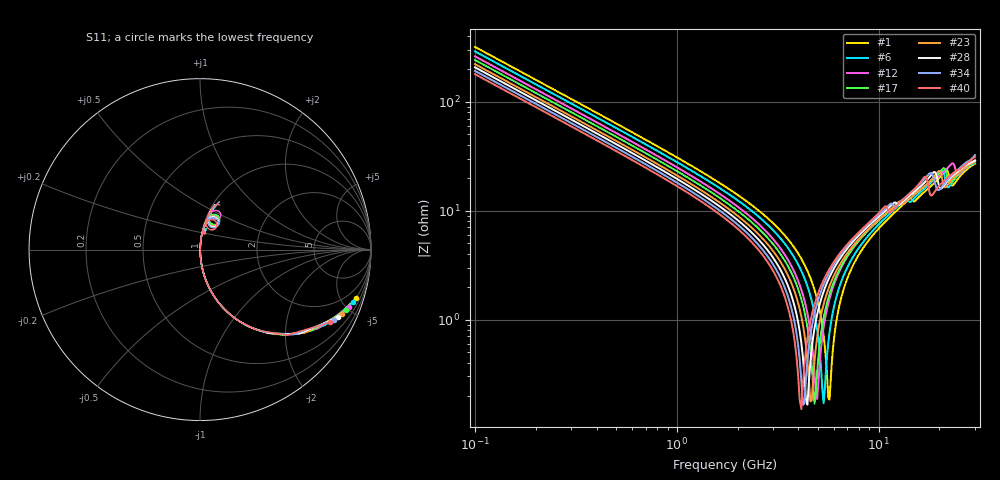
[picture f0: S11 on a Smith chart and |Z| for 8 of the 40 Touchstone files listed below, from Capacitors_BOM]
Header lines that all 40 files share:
!These Parameters are Measured in Series Mode Connection
!  o--ll--o
!Port1  Port2
!  o------o
!Operation Temp=25[degC], DC Bias Voltage=0[V]
!Freq. Start=100[MHz] Stop=30[GHz], 401[Steps]
!Data Generated on Feb 1, 2023
# Hz S RI R 50
!Freq.(Hz) S11(Real) S11(Imag) S21(Real) S21(Imag) S12(Real) S12(Imag) S22(Real) S22(Imag)
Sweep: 100 MHz to 30 GHz
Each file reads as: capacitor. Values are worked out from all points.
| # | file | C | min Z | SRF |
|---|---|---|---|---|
| 1 | GJM0225C1E5R0BB01_DC0V_25degC_series.s2p | 5 pF | 184 mohm | 5.674 GHz |
| 2 | GJM0225C1E5R1BB01_DC0V_25degC_series.s2p | 5.1 pF | 174 mohm | 5.618 GHz |
| 3 | GJM0225C1E5R2BB01_DC0V_25degC_series.s2p | 5.2 pF | 172 mohm | 5.564 GHz |
| 4 | GJM0225C1E5R3BB01_DC0V_25degC_series.s2p | 5.3 pF | 178 mohm | 5.432 GHz |
| 5 | GJM0225C1E5R4BB01_DC0V_25degC_series.s2p | 5.4 pF | 179 mohm | 5.382 GHz |
| 6 | GJM0225C1E5R5BB01_DC0V_25degC_series.s2p | 5.5 pF | 170 mohm | 5.333 GHz |
| 7 | GJM0225C1E5R6BB01_DC0V_25degC_series.s2p | 5.6 pF | 173 mohm | 5.321 GHz |
| 8 | GJM0225C1E5R7BB01_DC0V_25degC_series.s2p | 5.7 pF | 174 mohm | 5.275 GHz |
| 9 | GJM0225C1E5R8BB01_DC0V_25degC_series.s2p | 5.8 pF | 180 mohm | 5.229 GHz |
| 10 | GJM0225C1E5R9BB01_DC0V_25degC_series.s2p | 5.9 pF | 183 mohm | 5.016 GHz |
| 11 | GJM0225C1E6R0BB01_DC0V_25degC_series.s2p | 6 pF | 182 mohm | 4.974 GHz |
| 12 | GJM0225C1E6R1BB01_DC0V_25degC_series.s2p | 6.1 pF | 187 mohm | 4.934 GHz |
| 13 | GJM0225C1E6R2BB01_DC0V_25degC_series.s2p | 6.2 pF | 176 mohm | 4.889 GHz |
| 14 | GJM0225C1E6R3BB01_DC0V_25degC_series.s2p | 6.3 pF | 190 mohm | 4.85 GHz |
| 15 | GJM0225C1E6R4BB01_DC0V_25degC_series.s2p | 6.4 pF | 175 mohm | 4.812 GHz |
| 16 | GJM0225C1E6R5BB01_DC0V_25degC_series.s2p | 6.5 pF | 180 mohm | 4.853 GHz |
| 17 | GJM0225C1E6R6BB01_DC0V_25degC_series.s2p | 6.6 pF | 169 mohm | 4.816 GHz |
| 18 | GJM0225C1E6R7BB01_DC0V_25degC_series.s2p | 6.7 pF | 179 mohm | 4.78 GHz |
| 19 | GJM0225C1E6R8BB01_DC0V_25degC_series.s2p | 6.8 pF | 174 mohm | 4.71 GHz |
| 20 | GJM0225C1E6R9BB01_DC0V_25degC_series.s2p | 6.9 pF | 169 mohm | 4.675 GHz |
| 21 | GJM0225C1E7R0BB01_DC0V_25degC_series.s2p | 7 pF | 163 mohm | 4.669 GHz |
| 22 | GJM0225C1E7R1BB01_DC0V_25degC_series.s2p | 7.1 pF | 162 mohm | 4.654 GHz |
| 23 | GJM0225C1E7R2BB01_DC0V_25degC_series.s2p | 7.2 pF | 177 mohm | 4.622 GHz |
| 24 | GJM0225C1E7R3BB01_DC0V_25degC_series.s2p | 7.3 pF | 161 mohm | 4.59 GHz |
| 25 | GJM0225C1E7R4BB01_DC0V_25degC_series.s2p | 7.4 pF | 169 mohm | 4.486 GHz |
| 26 | GJM0225C1E7R5BB01_DC0V_25degC_series.s2p | 7.5 pF | 166 mohm | 4.456 GHz |
| 27 | GJM0225C1E7R6BB01_DC0V_25degC_series.s2p | 7.6 pF | 161 mohm | 4.426 GHz |
| 28 | GJM0225C1E7R7BB01_DC0V_25degC_series.s2p | 7.7 pF | 166 mohm | 4.408 GHz |
| 29 | GJM0225C1E7R8BB01_DC0V_25degC_series.s2p | 7.8 pF | 158 mohm | 4.379 GHz |
| 30 | GJM0225C1E7R9BB01_DC0V_25degC_series.s2p | 7.9 pF | 155 mohm | 4.351 GHz |
| 31 | GJM0225C1E8R0BB01_DC0V_25degC_series.s2p | 8 pF | 153 mohm | 4.292 GHz |
| 32 | GJM0225C1E8R1BB01_DC0V_25degC_series.s2p | 8.1 pF | 159 mohm | 4.265 GHz |
| 33 | GJM0225C1E8R2BB01_DC0V_25degC_series.s2p | 8.2 pF | 163 mohm | 4.239 GHz |
| 34 | GJM0225C1E8R3BB01_DC0V_25degC_series.s2p | 8.3 pF | 164 mohm | 4.246 GHz |
| 35 | GJM0225C1E8R4BB01_DC0V_25degC_series.s2p | 8.4 pF | 148 mohm | 4.221 GHz |
| 36 | GJM0225C1E8R5BB01_DC0V_25degC_series.s2p | 8.5 pF | 150 mohm | 4.196 GHz |
| 37 | GJM0225C1E8R6BB01_DC0V_25degC_series.s2p | 8.6 pF | 155 mohm | 4.185 GHz |
| 38 | GJM0225C1E8R7BB01_DC0V_25degC_series.s2p | 8.7 pF | 154 mohm | 4.161 GHz |
| 39 | GJM0225C1E8R8BB01_DC0V_25degC_series.s2p | 8.8 pF | 145 mohm | 4.137 GHz |
| 40 | GJM0225C1E8R9BB01_DC0V_25degC_series.s2p | 8.9 pF | 151 mohm | 4.116 GHz |
